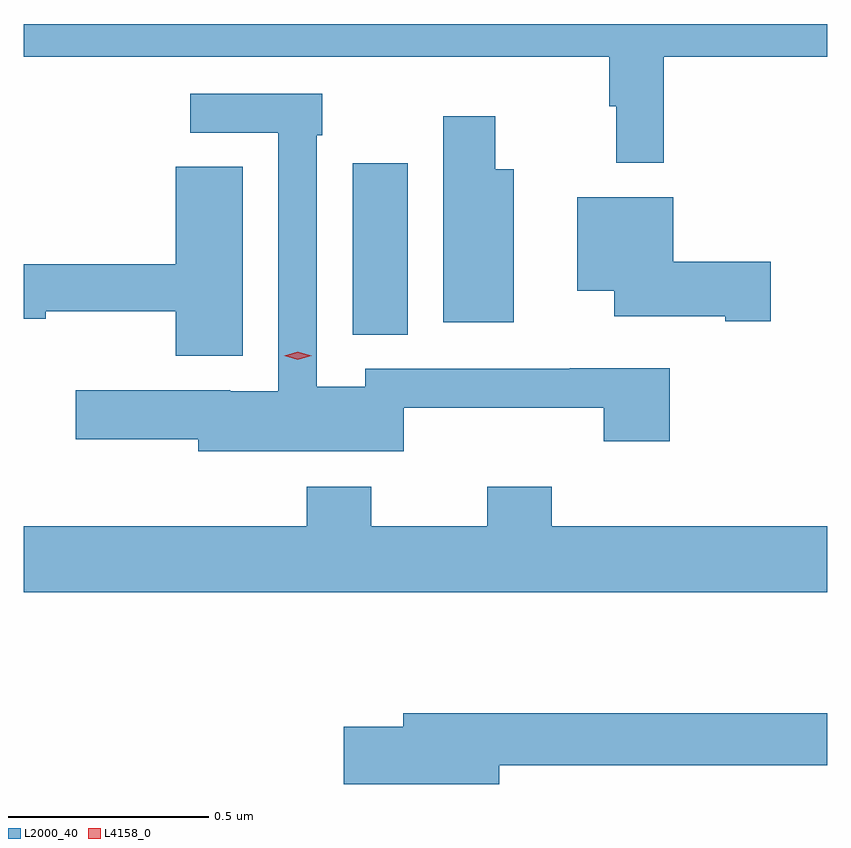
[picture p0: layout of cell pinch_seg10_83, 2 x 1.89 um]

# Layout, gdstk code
import gdstk
lib = gdstk.Library(unit=1e-6, precision=1e-09)
def R(c, l, rs):  # rectangles x0, y0, x1, y1
    for r in rs: c.add(gdstk.rectangle(r[:2], r[2:], *l))
def P(c, l, *ps):  # polygons
    for p in ps: c.add(gdstk.Polygon(p, *l))
L2000_40 = (2000, 40)
L4158_0 = (4158, 0)

pinch_seg10_83 = lib.new_cell('pinch_seg10_83')
R(pinch_seg10_83, L2000_40, [(774.527,1288.969,774.664,1289.395)])
P(pinch_seg10_83, L2000_40, [(775.708,1289.742),(773.708,1289.742),(773.708,1289.66),(775.165,1289.66),(775.165,1289.537),(775.183,1289.537),(775.183,1289.397),(775.301,1289.397),(775.301,1289.66),(775.708,1289.66)],
  [(774.654,1288.787),(775.151,1288.787),(775.151,1288.704),(775.316,1288.704),(775.316,1288.885),(775.067,1288.885),(775.067,1288.884),(774.558,1288.884),(774.558,1288.84),(774.438,1288.84),(774.438,1289.465),(774.451,1289.465),(774.451,1289.568),(774.123,1289.568),(774.123,1289.472),(774.342,1289.472),(774.342,1288.828),(774.222,1288.828),(774.222,1288.831),(773.838,1288.831),(773.838,1288.709),(774.143,1288.709),(774.143,1288.679),(774.654,1288.679)],
  [(774.928,1289.38),(774.882,1289.38),(774.882,1289.512),(774.752,1289.512),(774.752,1289),(774.928,1289)],
  [(774.253,1289.387),(774.086,1289.387),(774.086,1289.144),(773.708,1289.144),(773.708,1289.008),(773.763,1289.008),(773.763,1289.027),(774.086,1289.027),(774.086,1288.916),(774.253,1288.916)],
  [(775.567,1289.15),(775.324,1289.15),(775.324,1289.311),(775.085,1289.311),(775.085,1289.078),(775.178,1289.078),(775.178,1289.015),(775.454,1289.015),(775.454,1289.003),(775.567,1289.003)],
  [(775.708,1288.492),(775.022,1288.492),(775.022,1288.591),(774.862,1288.591),(774.862,1288.492),(774.573,1288.492),(774.573,1288.591),(774.413,1288.591),(774.413,1288.492),(773.708,1288.492),(773.708,1288.328),(775.708,1288.328)],
  [(774.892,1287.898),(775.708,1287.898),(775.708,1288.027),(774.653,1288.027),(774.653,1287.993),(774.504,1287.993),(774.504,1287.851),(774.892,1287.851)])
P(pinch_seg10_83, L4158_0, [(774.39,1288.906),(774.356,1288.916),(774.355,1288.916),(774.356,1288.916),(774.39,1288.926),(774.425,1288.916),(774.425,1288.916),(774.425,1288.916)])

lib.write_gds('pinch_seg10_83.gds')
